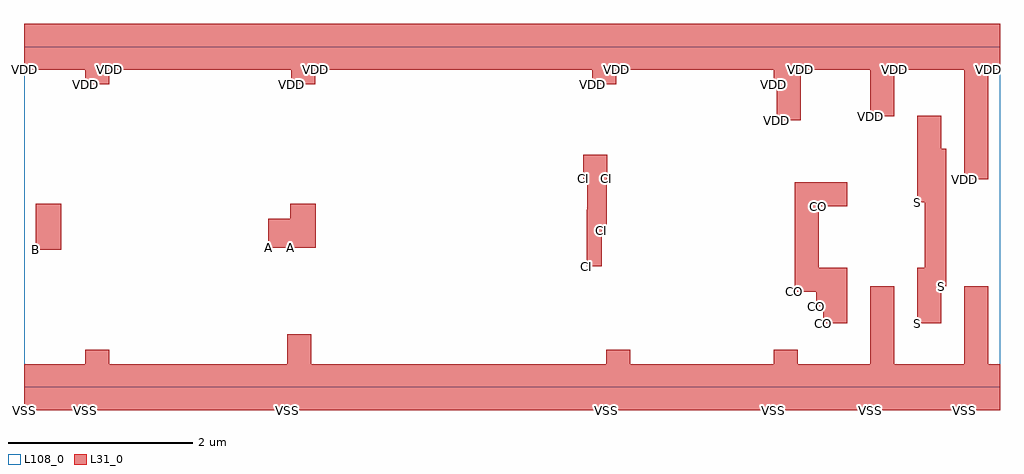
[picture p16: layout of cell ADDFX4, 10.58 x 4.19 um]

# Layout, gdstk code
import gdstk
lib = gdstk.Library(unit=1e-6, precision=1e-09)
def R(c, l, rs):  # rectangles x0, y0, x1, y1
    for r in rs: c.add(gdstk.rectangle(r[:2], r[2:], *l))
L31_0 = (31, 0)
L108_0 = (108, 0)

addfx4 = lib.new_cell('ADDFX4')
R(addfx4, L31_0, [(0,-0.25,0.665,0.25), (0.665,-0.25,0.925,0.405), (0.925,-0.25,2.855,0.25), (2.855,-0.25,3.115,0.575), (3.115,-0.25,6.31,0.25), (6.31,-0.25,6.57,0.405), (6.57,-0.25,8.125,0.25), (8.125,-0.25,8.385,0.405), (8.385,-0.25,9.175,0.25), (9.175,-0.25,9.435,1.095), (9.435,-0.25,10.195,0.25), (10.195,-0.25,10.455,1.095), (10.455,-0.25,10.58,0.25), (8.665,0.695,8.925,1.295), (9.685,0.695,9.765,1.295), (9.765,0.695,9.945,2.945), (8.59,0.88,8.615,2.22), (8.615,0.88,8.665,1.295), (8.355,1.035,8.59,2.22), (9.945,1.095,9.995,2.585), (6.1,1.31,6.105,1.925), (6.105,1.31,6.265,2.52), (0.125,1.49,0.405,1.99), (2.645,1.51,2.885,1.825), (2.885,1.51,3.165,1.99), (6.265,1.7,6.315,2.52), (8.615,1.96,8.925,2.22), (9.685,2.005,9.765,2.945), (10.195,2.255,10.455,3.94), (6.06,2.26,6.105,2.52), (6.315,2.26,6.32,2.52), (8.16,2.895,8.42,3.94), (9.175,2.935,9.435,3.94), (0.665,3.285,0.925,3.94), (2.895,3.285,3.155,3.94), (6.16,3.285,6.42,3.94), (8.125,3.285,8.16,3.94), (0,3.44,0.665,3.94), (0.925,3.44,2.895,3.94), (3.155,3.44,6.16,3.94), (6.42,3.44,8.125,3.94), (8.42,3.44,9.175,3.94), (9.435,3.44,10.195,3.94), (10.455,3.44,10.58,3.94)])
R(addfx4, L108_0, [(0,0,10.58,3.69)])
addfx4.add(gdstk.Label('S', (9.685,2.005), layer=131, texttype=0))
addfx4.add(gdstk.Label('S', (9.685,0.695), layer=131, texttype=0))
addfx4.add(gdstk.Label('S', (9.765,0.695), layer=131, texttype=0))
addfx4.add(gdstk.Label('S', (9.945,1.095), layer=131, texttype=0))
addfx4.add(gdstk.Label('CO', (8.355,1.035), layer=131, texttype=0))
addfx4.add(gdstk.Label('CO', (8.59,0.88), layer=131, texttype=0))
addfx4.add(gdstk.Label('CO', (8.615,0.88), layer=131, texttype=0))
addfx4.add(gdstk.Label('CO', (8.615,1.96), layer=131, texttype=0))
addfx4.add(gdstk.Label('CO', (8.665,0.695), layer=131, texttype=0))
addfx4.add(gdstk.Label('CI', (6.06,2.26), layer=131, texttype=0))
addfx4.add(gdstk.Label('CI', (6.1,1.31), layer=131, texttype=0))
addfx4.add(gdstk.Label('CI', (6.105,1.31), layer=131, texttype=0))
addfx4.add(gdstk.Label('CI', (6.265,1.7), layer=131, texttype=0))
addfx4.add(gdstk.Label('CI', (6.315,2.26), layer=131, texttype=0))
addfx4.add(gdstk.Label('B', (0.125,1.49), layer=131, texttype=0))
addfx4.add(gdstk.Label('A', (2.645,1.51), layer=131, texttype=0))
addfx4.add(gdstk.Label('A', (2.885,1.51), layer=131, texttype=0))
addfx4.add(gdstk.Label('VSS', (0,-0.25), layer=131, texttype=0))
addfx4.add(gdstk.Label('VSS', (0.665,-0.25), layer=131, texttype=0))
addfx4.add(gdstk.Label('VSS', (0.925,-0.25), layer=131, texttype=0))
addfx4.add(gdstk.Label('VSS', (2.855,-0.25), layer=131, texttype=0))
addfx4.add(gdstk.Label('VSS', (3.115,-0.25), layer=131, texttype=0))
addfx4.add(gdstk.Label('VSS', (6.31,-0.25), layer=131, texttype=0))
addfx4.add(gdstk.Label('VSS', (6.57,-0.25), layer=131, texttype=0))
addfx4.add(gdstk.Label('VSS', (8.125,-0.25), layer=131, texttype=0))
addfx4.add(gdstk.Label('VSS', (8.385,-0.25), layer=131, texttype=0))
addfx4.add(gdstk.Label('VSS', (9.175,-0.25), layer=131, texttype=0))
addfx4.add(gdstk.Label('VSS', (9.435,-0.25), layer=131, texttype=0))
addfx4.add(gdstk.Label('VSS', (10.195,-0.25), layer=131, texttype=0))
addfx4.add(gdstk.Label('VSS', (10.455,-0.25), layer=131, texttype=0))
addfx4.add(gdstk.Label('VDD', (0,3.44), layer=131, texttype=0))
addfx4.add(gdstk.Label('VDD', (0.665,3.285), layer=131, texttype=0))
addfx4.add(gdstk.Label('VDD', (0.925,3.44), layer=131, texttype=0))
addfx4.add(gdstk.Label('VDD', (2.895,3.285), layer=131, texttype=0))
addfx4.add(gdstk.Label('VDD', (3.155,3.44), layer=131, texttype=0))
addfx4.add(gdstk.Label('VDD', (6.16,3.285), layer=131, texttype=0))
addfx4.add(gdstk.Label('VDD', (6.42,3.44), layer=131, texttype=0))
addfx4.add(gdstk.Label('VDD', (8.125,3.285), layer=131, texttype=0))
addfx4.add(gdstk.Label('VDD', (8.16,2.895), layer=131, texttype=0))
addfx4.add(gdstk.Label('VDD', (8.42,3.44), layer=131, texttype=0))
addfx4.add(gdstk.Label('VDD', (9.175,2.935), layer=131, texttype=0))
addfx4.add(gdstk.Label('VDD', (9.435,3.44), layer=131, texttype=0))
addfx4.add(gdstk.Label('VDD', (10.195,2.255), layer=131, texttype=0))
addfx4.add(gdstk.Label('VDD', (10.455,3.44), layer=131, texttype=0))

lib.write_gds('ADDFX4.gds')
